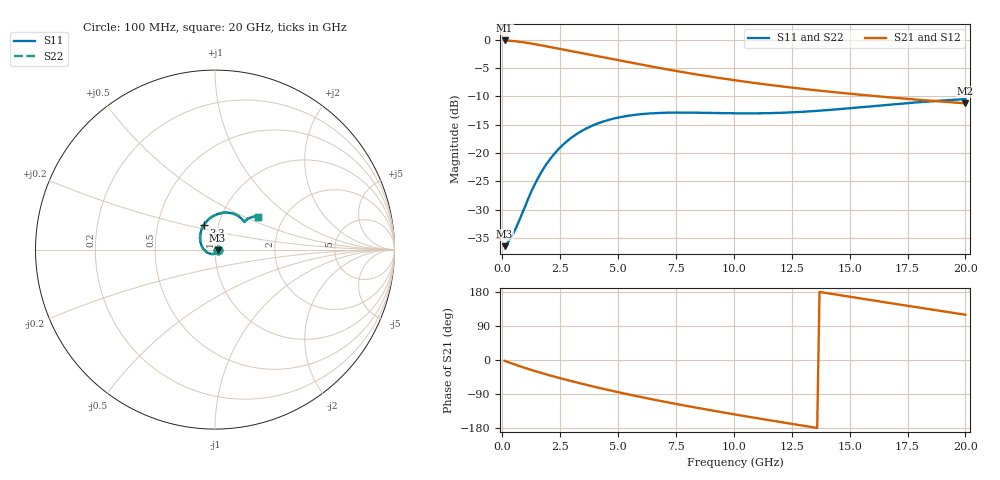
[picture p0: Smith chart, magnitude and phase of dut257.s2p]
! Touchstone file exported from HFSS 2024.1.0
!  File:  C:/UserFiles/LocalFiles/RDL_TSV_Batchsim/temp_RDL_TSV_257_1779458352.aedt
!  Generated:  10:12:58 PM May 22, 2026
!  Design:  RDL_TSV
!  Project:  temp_RDL_TSV_257_1779458352
!  Setup:  Setup1
!  Solution:  Sweep
! Variables:
!  dtsv = 12.21um
!  hbump = 3um
!  htsv = 91.95um
!  ldown = 392.47um
!  lrdl = 536.85um
!  p = 40
!  p1 = 52.78um
!  rhole = 10um
!  subl = 3324.81um
!  t = 450um
!  tdown = 4.56um
!  trdl = 2.59um
!  viad = 10um
!  wdown = 21.6um
!  wrdl = 29.63um
!  xbump = 18um
# GHz S MA R 50.000000
! Terminal data exported
! Port[1] = TM1_1_T1
! Port[2] = TM1_4_T1
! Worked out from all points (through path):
!   200 points, 100 MHz to 20 GHz, reference 50 ohm
!   highest |S21| = -0.14 dB at 100 MHz (marker M1); lowest = -11.2 dB at 20 GHz (marker M2)
!   group delay of S21, straight-line fit = 31.4 ps
!   lowest |S11| = -36.4 dB at 100 MHz (marker M3), VSWR 1.03, Z = 51.5 - j0.374 ohm
!   |S11| at or under -10 dB: start of sweep to end of sweep
!   |S22| runs from -36.4 to -10.4 dB; largest |S21 - S12| = 1e-14
!   S11 on the Smith chart (normalised r, x): 100 MHz: 1.03, -0.01; 3.3 GHz: 0.85, +0.24; 20 GHz: 1.49, +0.59
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0.1  0.01511 -13.9  0.9843 -2.3  0.9843 -2.3  0.01511 -13.9
! Gamma 0 0 0 0
! Port Impedance 50 0 50 0
0.3  0.01699 -45.0  0.9791 -6.7  0.9791 -6.7  0.01699 -45.0
0.5  0.01997 -76.3  0.9711 -11.0  0.9711 -11.0  0.01996 -76.4
1  0.0347 -137.8  0.9424 -21.3  0.9424 -21.3  0.03471 -137.9
1.4  0.05288 -169.9  0.9133 -29.0  0.9133 -29.0  0.05295 -170.0
1.8  0.074 166.9  0.8822 -36.3  0.8822 -36.3  0.07412 166.9
2.1  0.0905 153.1  0.8588 -41.4  0.8588 -41.4  0.09066 153.0
2.5  0.1122 137.7  0.8282 -48.1  0.8282 -48.1  0.1124 137.6
3.3  0.1512 113.9  0.7702 -60.6  0.7702 -60.6  0.1515 113.9
3.5  0.1597 109.0  0.7563 -63.6  0.7563 -63.6  0.1601 109.0
4.3  0.188 92.3  0.7031 -75.2  0.7031 -75.2  0.1885 92.3
5.2  0.2094 77.9  0.6478 -87.6  0.6478 -87.6  0.2099 77.9
6  0.2205 67.9  0.6029 -97.9  0.6029 -97.9  0.2211 68.0
6.8  0.226 60.2  0.5622 -107.7  0.5622 -107.7  0.2267 60.2
8.4  0.2271 50.0  0.4935 -126.1  0.4935 -126.1  0.2279 50.0
10.1  0.2243 44.9  0.4369 -144.2  0.4369 -144.2  0.2251 45.0
11.7  0.2255 43.5  0.3954 -160.6  0.3954 -160.6  0.2265 43.6
13.4  0.2342 43.5  0.3606 -177.4  0.3606 -177.4  0.2354 43.6
15.1  0.2496 43.2  0.3324 166.0  0.3324 166.0  0.2509 43.3
16.7  0.267 42.0  0.3104 150.6  0.3104 150.6  0.2684 42.1
18.3  0.2841 39.9  0.2917 135.4  0.2917 135.4  0.2856 40.0
20  0.2992 37.1  0.2747 119.4  0.2747 119.4  0.3009 37.1
